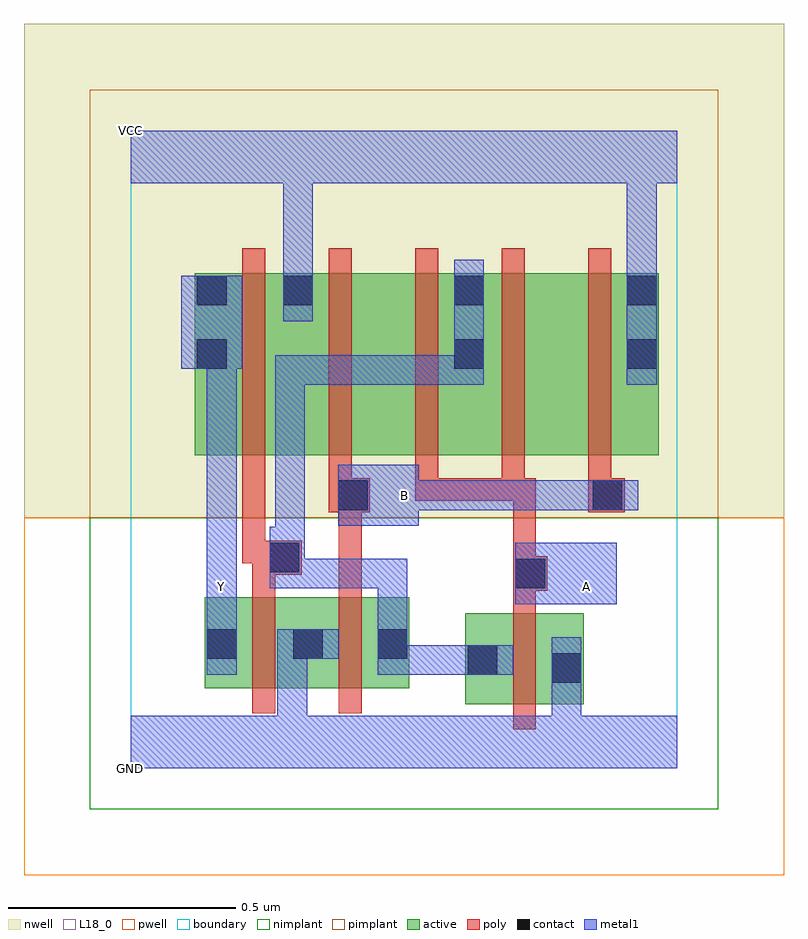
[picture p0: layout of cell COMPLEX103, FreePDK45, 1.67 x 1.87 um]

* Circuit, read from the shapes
.subckt COMPLEX103 A B GND VCC Y
M1 GND n1 Y VSUBS nfet w=0.2u l=0.05u
M2 n1 B GND VSUBS nfet w=0.2u l=0.05u
M3 GND A n1 VSUBS nfet w=0.2u l=0.05u
M4 VCC n1 Y n2 pfet w=0.4u l=0.05u
M5 n3 B VCC n2 pfet w=0.4u l=0.05u
M6 n1 A n3 n2 pfet w=0.4u l=0.05u
M7 n4 A n1 n2 pfet w=0.4u l=0.05u
M8 VCC B n4 n2 pfet w=0.4u l=0.05u
.ends

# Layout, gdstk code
import gdstk
lib = gdstk.Library(unit=1e-6, precision=1e-09)
def R(c, l, rs):  # rectangles x0, y0, x1, y1
    for r in rs: c.add(gdstk.rectangle(r[:2], r[2:], *l))
def A(c, l, x, y, w, h, nx, ny, dx, dy):  # array of equal rectangles
    R(c, l, [(x+i*dx, y+j*dy, x+i*dx+w, y+j*dy+h) for i in range(nx) for j in range(ny)])
active = (1, 0)
pwell = (2, 0)
nwell = (3, 0)
nimplant = (4, 0)
pimplant = (5, 0)
poly = (9, 0)
contact = (10, 0)
metal1 = (11, 0)
L18_0 = (18, 0)
boundary = (235, 0)

complex103 = lib.new_cell('COMPLEX103')
R(complex103, active, [(0.735,0.14,0.995,0.34), (0.92,0.14,0.995,0.34), (0.162,0.175,0.427,0.375), (0.352,0.175,0.612,0.375), (0.162,0.2,0.237,0.375), (0.537,0.2,0.612,0.375), (0.735,0.2,0.81,0.34), (0.352,0.235,0.427,0.375), (0.14,0.687,0.215,1.087), (0.14,0.687,0.405,1.087), (0.33,0.687,0.555,1.087), (0.555,0.687,0.78,1.087), (0.705,0.687,0.78,1.087), (0.705,0.687,0.935,1.087), (0.935,0.687,1.16,1.087), (1.085,0.687,1.16,1.087), (0.33,0.857,0.405,1.087)])
R(complex103, pwell, [(-0.235,-0.235,1.435,0.55)])
R(complex103, nwell, [(-0.235,0.55,1.435,1.635)])
R(complex103, nimplant, [(-0.09,-0.09,1.29,0.55)])
R(complex103, pimplant, [(-0.09,0.55,1.29,1.49)])
A(complex103, poly, 0.435, 0.587, 0.05, 0.095, 4, 1, 0.19, 0)
A(complex103, poly, 0.245, 0.632, 0.05, 0.51, 5, 1, 0.19, 0)
R(complex103, poly, [(0.84,0.085,0.89,0.395), (0.267,0.12,0.317,0.43), (0.457,0.12,0.507,0.43), (0.84,0.345,0.89,0.44), (0.267,0.38,0.317,0.475), (0.457,0.38,0.507,0.612), (0.84,0.39,0.915,0.465), (0.84,0.415,0.89,0.637), (0.267,0.425,0.375,0.5), (0.245,0.45,0.295,0.682), (0.245,0.45,0.317,0.5), (0.267,0.45,0.317,0.5), (0.435,0.562,0.525,0.637), (0.457,0.562,0.507,0.612), (0.457,0.562,0.507,0.612), (1.005,0.562,1.085,0.637), (0.625,0.587,0.675,0.637), (0.625,0.587,0.865,0.637), (0.815,0.587,0.865,0.637), (0.815,0.587,0.865,0.637), (0.815,0.587,0.89,0.637)])
R(complex103, contact, [(0.925,0.187,0.99,0.252), (0.74,0.205,0.805,0.27), (0.167,0.24,0.232,0.305), (0.357,0.24,0.422,0.305), (0.542,0.24,0.607,0.305), (0.845,0.395,0.91,0.46), (0.305,0.43,0.37,0.495), (0.455,0.567,0.52,0.632), (1.015,0.567,1.08,0.632), (0.145,0.877,0.21,0.942), (0.71,0.877,0.775,0.942), (1.09,0.877,1.155,0.942), (0.145,1.017,0.21,1.082), (0.335,1.017,0.4,1.082), (0.71,1.017,0.775,1.082), (1.09,1.017,1.155,1.082)])
R(complex103, metal1, [(0,0,1.2,0.115), (0.322,0.05,0.387,0.115), (0.322,0.05,0.387,0.115), (0.322,0.05,0.387,0.305), (0.925,0.05,0.99,0.217), (0.925,0.152,0.99,0.217), (0.925,0.152,0.99,0.217), (0.925,0.152,0.99,0.287), (0.167,0.205,0.232,0.34), (0.542,0.205,0.607,0.34), (0.542,0.205,0.77,0.27), (0.705,0.205,0.77,0.27), (0.705,0.205,0.77,0.27), (0.705,0.205,0.84,0.27), (0.322,0.24,0.457,0.305), (0.167,0.275,0.232,0.397), (0.542,0.275,0.607,0.46), (0.167,0.332,0.232,0.467), (0.845,0.36,1.067,0.495), (0.305,0.395,0.37,0.53), (0.305,0.395,0.382,0.46), (0.317,0.395,0.382,0.46), (0.317,0.395,0.382,0.46), (0.317,0.395,0.382,0.46), (0.317,0.395,0.607,0.46), (0.317,0.395,0.382,0.907), (0.542,0.395,0.607,0.46), (0.542,0.395,0.607,0.46), (0.542,0.395,0.607,0.46), (0.167,0.402,0.232,0.942), (0.455,0.532,0.632,0.667), (0.567,0.567,0.632,0.632), (0.567,0.567,0.632,0.632), (0.567,0.567,0.77,0.632), (0.705,0.567,0.77,0.632), (0.705,0.567,0.77,0.632), (0.705,0.567,0.77,0.632), (0.705,0.567,0.907,0.632), (0.842,0.567,0.907,0.632), (0.842,0.567,0.907,0.632), (0.842,0.567,0.907,0.632), (0.842,0.567,1.045,0.632), (0.98,0.567,1.115,0.632), (0.317,0.842,0.382,0.907), (0.317,0.842,0.52,0.907), (0.455,0.842,0.52,0.907), (0.455,0.842,0.52,0.907), (0.455,0.842,0.52,0.907), (0.455,0.842,0.77,0.907), (0.705,0.842,0.77,0.907), (0.705,0.842,0.775,0.907), (0.71,0.842,0.775,1.117), (1.09,0.842,1.155,1.117), (0.11,0.877,0.245,1.082), (0.167,0.877,0.232,0.942), (0.167,0.877,0.232,0.942), (0.335,0.982,0.4,1.117), (0.335,1.052,0.4,1.117), (0.335,1.052,0.4,1.117), (0.335,1.052,0.4,1.117), (0.335,1.052,0.4,1.117), (0.335,1.052,0.4,1.35), (1.09,1.052,1.155,1.35), (0,1.285,1.2,1.4), (1.09,1.285,1.155,1.35), (1.09,1.285,1.155,1.35), (1.09,1.285,1.155,1.35), (1.09,1.285,1.155,1.35)])
R(complex103, L18_0, [(0,0,1.2,0.115), (0.322,0.05,0.387,0.115), (0.322,0.05,0.387,0.115), (0.322,0.05,0.387,0.305), (0.925,0.05,0.99,0.217), (0.925,0.152,0.99,0.287), (0.925,0.152,0.99,0.217), (0.925,0.152,0.99,0.217), (0.167,0.205,0.232,0.34), (0.322,0.24,0.457,0.305), (0.167,0.275,0.232,0.397), (0.167,0.332,0.232,0.467), (0.845,0.36,1.067,0.495), (0.167,0.367,0.232,0.432), (0.967,0.367,1.032,0.432), (0.167,0.402,0.232,0.942), (0.455,0.532,0.632,0.667), (0.567,0.567,0.632,0.632), (0.567,0.567,0.632,0.632), (0.567,0.567,0.632,0.632), (0.567,0.567,0.77,0.632), (0.705,0.567,0.77,0.632), (0.705,0.567,0.77,0.632), (0.705,0.567,0.77,0.632), (0.705,0.567,0.907,0.632), (0.842,0.567,0.907,0.632), (0.842,0.567,0.907,0.632), (0.842,0.567,0.907,0.632), (0.842,0.567,1.045,0.632), (0.98,0.567,1.115,0.632), (1.09,0.842,1.155,1.117), (0.11,0.877,0.245,1.082), (0.167,0.877,0.232,0.942), (0.167,0.877,0.232,0.942), (0.335,0.982,0.4,1.117), (0.335,1.052,0.4,1.117), (0.335,1.052,0.4,1.117), (0.335,1.052,0.4,1.117), (0.335,1.052,0.4,1.117), (0.335,1.052,0.4,1.35), (1.09,1.052,1.155,1.35), (0,1.285,1.2,1.4), (1.09,1.285,1.155,1.35), (1.09,1.285,1.155,1.35), (1.09,1.285,1.155,1.35), (1.09,1.285,1.155,1.35)])
R(complex103, boundary, [(0,0,1.2,1.4)])
complex103.add(gdstk.Label('A', (1,0.4), layer=11, texttype=0))
complex103.add(gdstk.Label('B', (0.6,0.6), layer=11, texttype=0))
complex103.add(gdstk.Label('Y', (0.2,0.4), layer=11, texttype=0))
complex103.add(gdstk.Label('VCC', (0,1.4), layer=11, texttype=0))
complex103.add(gdstk.Label('GND', (0,0), layer=11, texttype=0))

lib.write_gds('COMPLEX103.gds')
